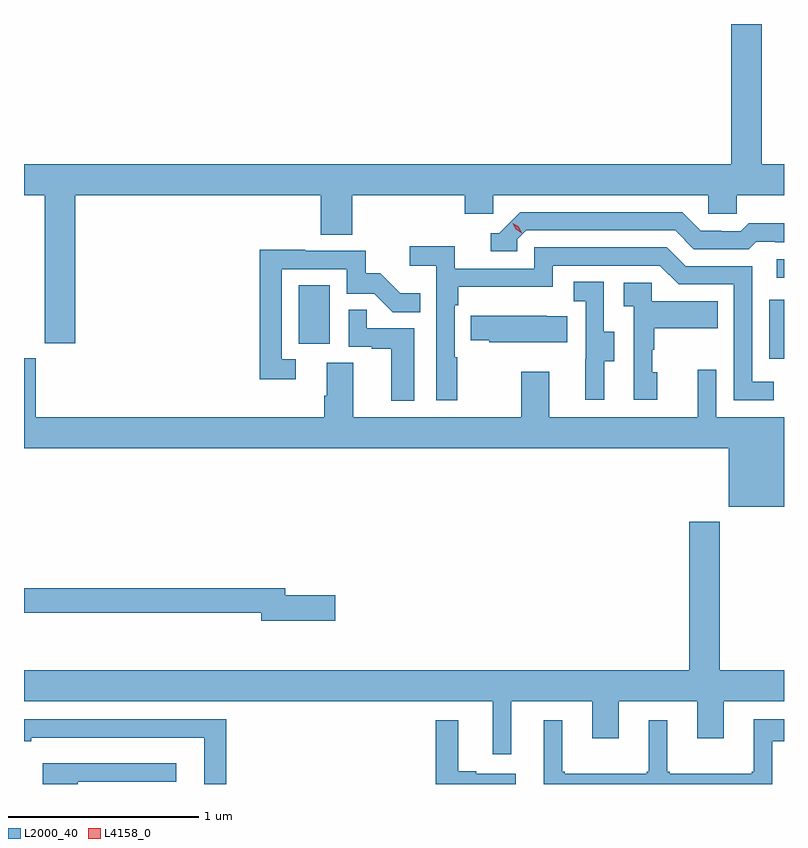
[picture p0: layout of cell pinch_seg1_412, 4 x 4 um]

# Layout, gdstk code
import gdstk
lib = gdstk.Library(unit=1e-6, precision=1e-09)
def R(c, l, rs):  # rectangles x0, y0, x1, y1
    for r in rs: c.add(gdstk.rectangle(r[:2], r[2:], *l))
def P(c, l, *ps):  # polygons
    for p in ps: c.add(gdstk.Polygon(p, *l))
L2000_40 = (2000, 40)
L4158_0 = (4158, 0)

pinch_seg1_412 = lib.new_cell('pinch_seg1_412')
R(pinch_seg1_412, L2000_40, [(906.39,540.216,906.468,540.526), (903.914,540.294,904.078,540.601), (906.429,540.642,906.468,540.738)])
P(pinch_seg1_412, L2000_40, [(902.738,541.076),(904.031,541.076),(904.031,540.868),(904.196,540.868),(904.196,541.076),(904.787,541.076),(904.787,540.978),(904.938,540.978),(904.938,541.076),(906.069,541.076),(906.069,540.978),(906.219,540.978),(906.219,541.076),(906.468,541.076),(906.468,541.24),(906.351,541.24),(906.351,541.977),(906.191,541.977),(906.191,541.24),(902.468,541.24),(902.468,541.076),(902.578,541.076),(902.578,540.297),(902.738,540.297)],
  [(905.064,540.843),(905.112,540.891),(905.895,540.891),(905.994,540.792),(906.283,540.792),(906.322,540.831),(906.421,540.831),(906.421,540.828),(906.468,540.828),(906.468,540.928),(906.283,540.928),(906.241,540.885),(906.138,540.885),(906.138,540.888),(906.031,540.888),(905.932,540.987),(905.079,540.987),(904.968,540.876),(904.925,540.876),(904.925,540.78),(905.064,540.78)],
  [(904.747,540.224),(904.734,540.224),(904.734,540.497),(904.754,540.497),(904.754,540.593),(905.25,540.593),(905.25,540.705),(905.814,540.705),(905.913,540.606),(906.204,540.606),(906.204,539.997),(906.413,539.997),(906.413,540.093),(906.3,540.093),(906.3,540.702),(905.95,540.702),(905.851,540.801),(905.154,540.801),(905.154,540.69),(904.736,540.69),(904.736,540.806),(904.497,540.806),(904.497,540.704),(904.638,540.704),(904.638,539.997),(904.747,539.997)],
  [(903.898,540.213),(903.825,540.213),(903.825,540.687),(904.167,540.687),(904.167,540.558),(904.312,540.558),(904.41,540.46),(904.553,540.46),(904.553,540.559),(904.449,540.559),(904.342,540.666),(904.266,540.666),(904.266,540.783),(903.947,540.783),(903.947,540.788),(903.709,540.788),(903.709,540.108),(903.898,540.108)],
  [(905.521,540.202),(905.575,540.202),(905.575,540.357),(905.52,540.357),(905.52,540.62),(905.361,540.62),(905.361,540.517),(905.424,540.517),(905.424,540.213),(905.423,540.213),(905.423,540),(905.521,540)],
  [(905.8,540.144),(905.775,540.144),(905.775,540.263),(905.785,540.263),(905.785,540.377),(906.119,540.377),(906.119,540.517),(905.772,540.517),(905.772,540.615),(905.625,540.615),(905.625,540.491),(905.676,540.491),(905.676,540),(905.8,540)],
  [(904.522,540.375),(904.271,540.375),(904.271,540.473),(904.176,540.473),(904.176,540.279),(904.297,540.279),(904.297,540.267),(904.4,540.267),(904.4,539.993),(904.522,539.993)],
  [(905.327,540.439),(905.219,540.439),(905.219,540.442),(904.819,540.442),(904.819,540.313),(904.917,540.313),(904.917,540.302),(905.327,540.302)],
  [(906.468,539.908),(906.111,539.908),(906.111,540.157),(906.014,540.157),(906.014,539.908),(905.233,539.908),(905.233,540.148),(905.086,540.148),(905.086,539.908),(904.201,539.908),(904.201,540.194),(904.061,540.194),(904.061,540.02),(904.049,540.02),(904.049,539.908),(902.53,539.908),(902.53,540.217),(902.468,540.217),(902.468,539.744),(906.176,539.744),(906.176,539.435),(906.468,539.435)],
  [(905.032,538.412),(905.459,538.412),(905.459,538.218),(905.599,538.218),(905.599,538.412),(906.011,538.412),(906.011,538.218),(906.151,538.218),(906.151,538.412),(906.468,538.412),(906.468,538.576),(906.129,538.576),(906.129,539.356),(905.969,539.356),(905.969,538.576),(902.468,538.576),(902.468,538.412),(904.934,538.412),(904.934,538.134),(905.032,538.134)],
  [(904.105,538.97),(903.844,538.97),(903.844,539.006),(902.468,539.006),(902.468,538.878),(903.716,538.878),(903.716,538.835),(904.105,538.835)],
  [(903.533,538.317),(902.468,538.317),(902.468,538.201),(902.506,538.201),(902.506,538.22),(903.416,538.22),(903.416,537.977),(903.533,537.977)],
  [(906.406,538.201),(906.468,538.201),(906.468,538.317),(906.308,538.317),(906.308,538.042),(906.297,538.042),(906.297,538.031),(905.866,538.031),(905.866,538.042),(905.854,538.042),(905.854,538.312),(905.756,538.312),(905.756,538.042),(905.745,538.042),(905.745,538.031),(905.314,538.031),(905.314,538.042),(905.302,538.042),(905.302,538.312),(905.204,538.312),(905.204,537.977),(906.406,537.977)],
  [(905.056,538.032),(904.849,538.032),(904.849,538.045),(904.753,538.045),(904.753,538.312),(904.635,538.312),(904.635,537.977),(905.056,537.977)],
  [(902.752,537.989),(903.268,537.989),(903.268,538.087),(902.567,538.087),(902.567,537.977),(902.752,537.977)])
P(pinch_seg1_412, L4158_0, [(905.087,540.876),(905.056,540.896),(905.04,540.928),(905.04,540.928),(905.04,540.928),(905.071,540.909),(905.087,540.876),(905.087,540.876)])

lib.write_gds('pinch_seg1_412.gds')
